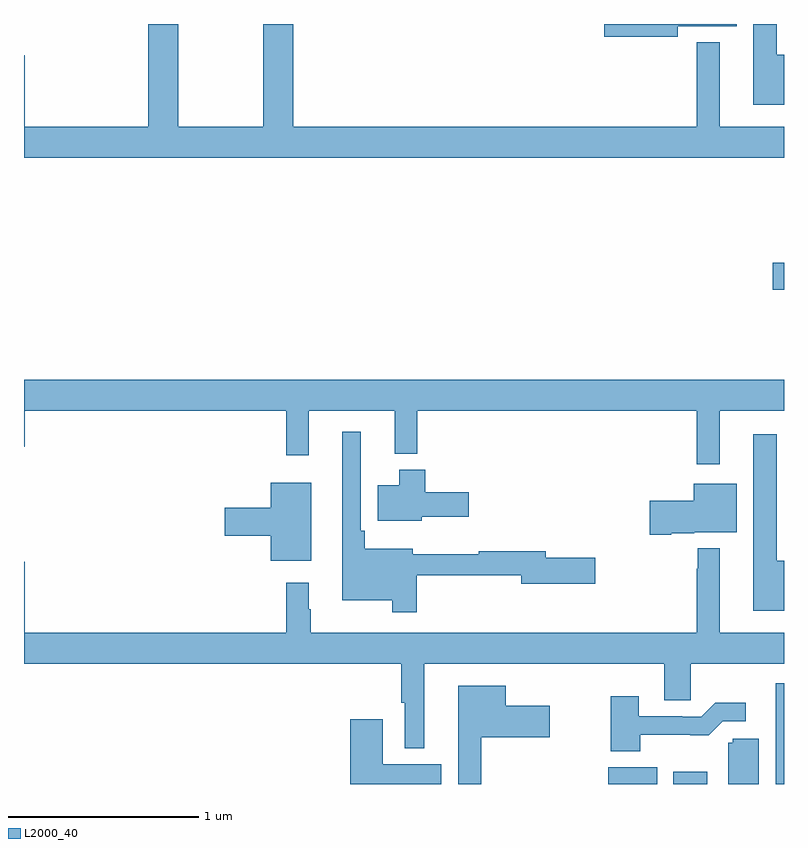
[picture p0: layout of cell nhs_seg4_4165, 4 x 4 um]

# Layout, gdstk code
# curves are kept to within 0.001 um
import gdstk
lib = gdstk.Library(unit=1e-6, precision=1e-09)
def R(c, l, rs):  # rectangles x0, y0, x1, y1
    for r in rs: c.add(gdstk.rectangle(r[:2], r[2:], *l))
def P(c, l, *ps):  # polygons
    for p in ps: c.add(gdstk.Polygon(p, *l))
L2000_40 = (2000, 40)

nhs_seg4_4165 = lib.new_cell('nhs_seg4_4165')
R(nhs_seg4_4165, L2000_40, [(336.074,750.9,336.332,750.988), (336.417,750.9,336.595,750.964), (336.942,753.502,337,753.644)])
P(nhs_seg4_4165, L2000_40, [(337,754.738),(336.961,754.738),(336.961,754.9),(336.839,754.9),(336.839,754.475),(337,754.475)],
  [(336.442,754.889),(336.751,754.889),(336.751,754.9),(336.054,754.9),(336.054,754.834),(336.442,754.834)],
  [(337,754.36),(336.661,754.36),(336.661,754.804),(336.54,754.804),(336.54,754.36),(334.418,754.36),(334.418,754.9),(334.258,754.9),(334.258,754.36),(333.813,754.36),(333.813,754.9),(333.653,754.9),(333.653,754.36),(333.004,754.36),(333.004,754.735),(333,754.735),(333,754.196),(337,754.196)],
  [(333,752.676),(333.004,752.676),(333.004,752.864),(334.381,752.864),(334.381,752.631),(334.499,752.631),(334.499,752.864),(334.952,752.864),(334.952,752.639),(335.069,752.639),(335.069,752.864),(336.54,752.864),(336.54,752.583),(336.661,752.583),(336.661,752.864),(337,752.864),(337,753.028),(333,753.028)],
  [(335.066,751.998),(335.618,751.998),(335.618,751.955),(336.007,751.955),(336.007,752.09),(335.746,752.09),(335.746,752.126),(335.393,752.126),(335.393,752.108),(335.047,752.108),(335.047,752.137),(334.793,752.137),(334.793,752.233),(334.773,752.233),(334.773,752.755),(334.676,752.755),(334.676,751.868),(334.938,751.868),(334.938,751.803),(335.066,751.803)],
  [(337,752.074),(336.961,752.074),(336.961,752.74),(336.839,752.74),(336.839,751.811),(337,751.811)],
  [(335.094,752.306),(335.341,752.306),(335.341,752.436),(335.111,752.436),(335.111,752.554),(334.976,752.554),(334.976,752.473),(334.862,752.473),(334.862,752.285),(335.094,752.285)],
  [(334.513,752.485),(334.298,752.485),(334.298,752.354),(334.056,752.354),(334.056,752.207),(334.298,752.207),(334.298,752.075),(334.513,752.075)],
  [(336.406,752.219),(336.528,752.219),(336.528,752.225),(336.751,752.225),(336.751,752.479),(336.524,752.479),(336.524,752.391),(336.294,752.391),(336.294,752.213),(336.406,752.213)],
  [(335.107,751.532),(336.371,751.532),(336.371,751.342),(336.51,751.342),(336.51,751.532),(337,751.532),(337,751.696),(336.661,751.696),(336.661,752.14),(336.547,752.14),(336.547,752.033),(336.54,752.033),(336.54,751.696),(334.51,751.696),(334.51,751.82),(334.498,751.82),(334.498,751.96),(334.381,751.96),(334.381,751.696),(333.004,751.696),(333.004,752.071),(333,752.071),(333,751.532),(334.986,751.532),(334.986,751.327),(335.003,751.327),(335.003,751.088),(335.107,751.088)],
  [(337,751.429),(336.956,751.429),(336.956,751.206),(336.957,751.206),(336.957,750.9),(337,750.9)],
  [(335.407,751.147),(335.767,751.147),(335.767,751.312),(335.536,751.312),(335.536,751.417),(335.285,751.417),(335.285,750.9),(335.407,750.9)],
  [(336.243,751.158),(336.605,751.157),(336.678,751.23),(336.799,751.23),(336.799,751.327),(336.637,751.327),(336.564,751.254),(336.464,751.254),(336.464,751.257),(336.235,751.257),(336.235,751.363),(336.088,751.363),(336.088,751.073),(336.243,751.073)],
  [(335.197,751.003),(334.888,751.003),(334.888,751.24),(334.718,751.24),(334.718,750.9),(335.197,750.9)],
  [(336.868,751.137),(336.729,751.137),(336.729,751.116),(336.707,751.116),(336.707,750.9),(336.868,750.9)])

lib.write_gds('nhs_seg4_4165.gds')
